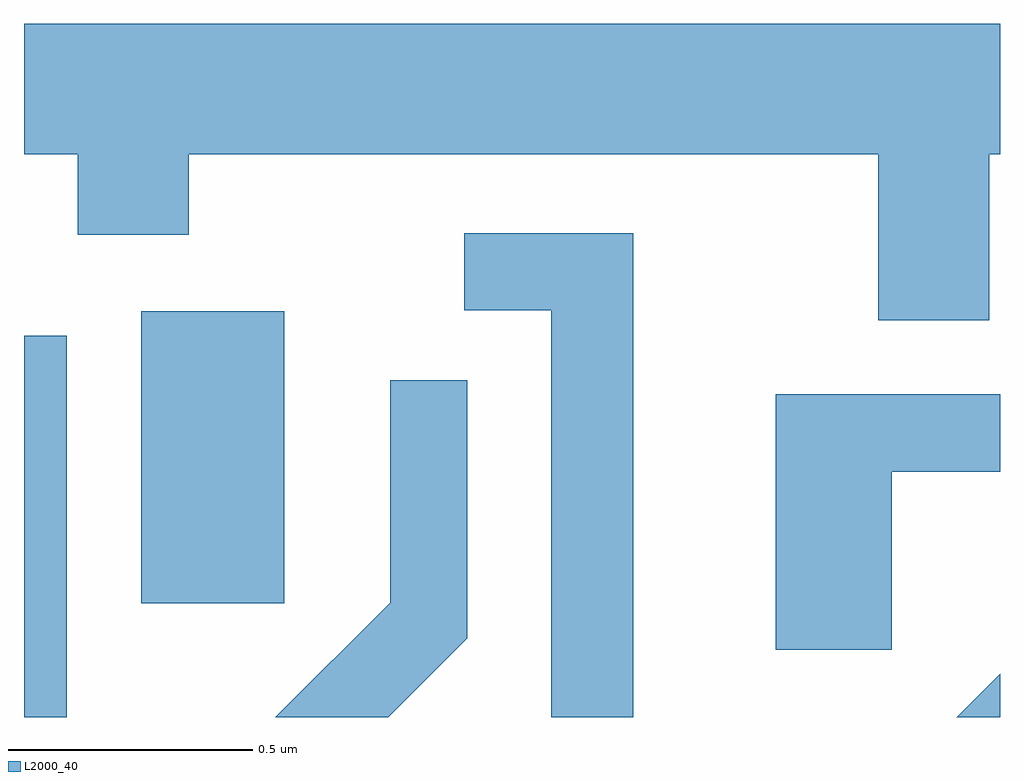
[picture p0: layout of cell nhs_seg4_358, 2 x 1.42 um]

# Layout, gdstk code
import gdstk
lib = gdstk.Library(unit=1e-6, precision=1e-09)
def R(c, l, rs):  # rectangles x0, y0, x1, y1
    for r in rs: c.add(gdstk.rectangle(r[:2], r[2:], *l))
def P(c, l, *ps):  # polygons
    for p in ps: c.add(gdstk.Polygon(p, *l))
L2000_40 = (2000, 40)

nhs_seg4_358 = lib.new_cell('nhs_seg4_358')
R(nhs_seg4_358, L2000_40, [(187.611,1337.982,187.699,1338.764), (187.851,1338.216,188.144,1338.814)])
P(nhs_seg4_358, L2000_40, [(189.589,1339.136),(189.611,1339.136),(189.611,1339.404),(187.611,1339.404),(187.611,1339.136),(187.721,1339.136),(187.721,1338.971),(187.949,1338.971),(187.949,1339.136),(189.361,1339.136),(189.361,1338.796),(189.589,1338.796)],
  [(188.859,1338.974),(188.513,1338.974),(188.513,1338.816),(188.691,1338.816),(188.691,1337.982),(188.859,1337.982)],
  [(188.519,1338.144),(188.519,1338.673),(188.361,1338.673),(188.361,1338.217),(188.126,1337.982),(188.357,1337.982)],
  [(189.389,1338.486),(189.611,1338.486),(189.611,1338.644),(189.151,1338.644),(189.151,1338.121),(189.389,1338.121)],
  [(189.611,1338.072),(189.522,1337.982),(189.611,1337.982)])

lib.write_gds('nhs_seg4_358.gds')
